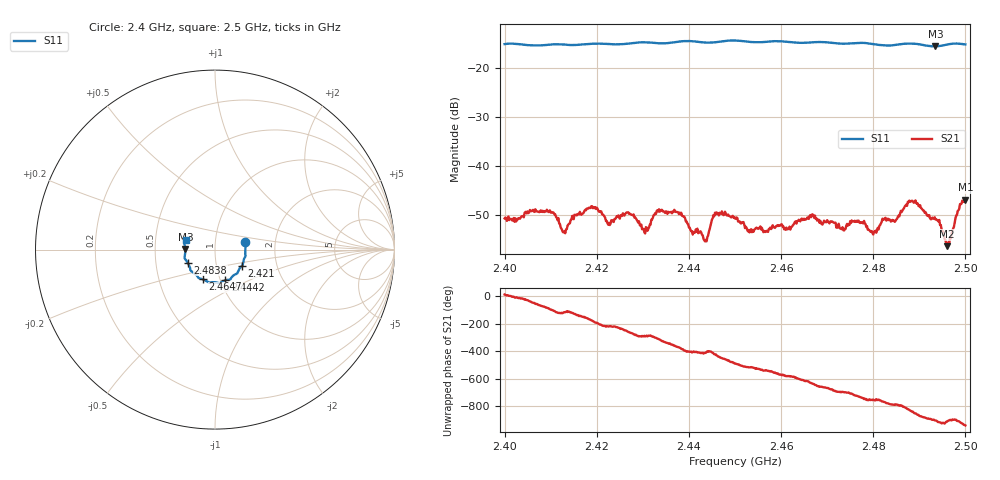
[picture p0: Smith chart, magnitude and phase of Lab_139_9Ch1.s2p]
# Hz S RI R 50
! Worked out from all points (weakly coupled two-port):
!   601 points, 2.4 GHz to 2.5 GHz, reference 50 ohm
!   highest |S21| = -46.93 dB at 2.5 GHz (marker M1); lowest = -56.4 dB at 2.496 GHz (marker M2)
!   lowest |S11| = -15.7 dB at 2.4935 GHz (marker M3), VSWR 1.39, Z = 35.8 + j0.19 ohm
!   |S11| at or under -10 dB: start of sweep to end of sweep
!   S12 and S22 are empty: the file has one direction only
!   S11 on the Smith chart (normalised r, x): 2.4 GHz: 1.40, +0.12; 2.421 GHz: 1.33, -0.24; 2.4442 GHz: 1.05, -0.37; 2.4647 GHz: 0.83, -0.28; 2.4838 GHz: 0.73, -0.11; 2.5 GHz: 0.71, +0.08
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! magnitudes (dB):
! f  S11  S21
! 2.4 GHz  -15.2  -50.8
! 2.4097 GHz  -15.3  -49.4
! 2.413 GHz  -15.3  -53.4
! 2.4167 GHz  -15.3  -50.0
! 2.421 GHz  -15.1  -49.3
! 2.4225 GHz  -15.2  -52.0
! 2.427 GHz  -15.1  -49.8
! 2.4307 GHz  -14.8  -52.5
! 2.4333 GHz  -15.0  -49.3
! 2.4442 GHz  -14.9  -54.3
! 2.4458 GHz  -14.8  -49.9
! 2.45 GHz  -14.5  -50.8
! 2.4567 GHz  -14.7  -53.5
! 2.4647 GHz  -14.9  -51.1
! 2.4667 GHz  -14.8  -50.0
! 2.4798 GHz  -15.2  -53.7
! 2.4833 GHz  -15.5  -51.1
! 2.4838 GHz  -15.5  -51.4
! 2.488 GHz  -15.1  -47.4
! 2.4935 GHz  -15.7  -51.0
! 2.496 GHz  -15.3  -56.4
! 2.5 GHz  -15.3  -46.9
